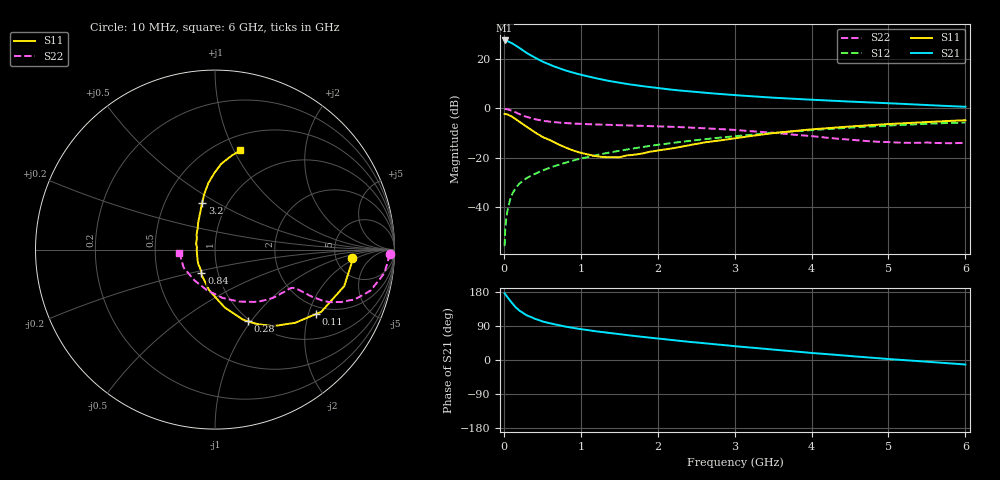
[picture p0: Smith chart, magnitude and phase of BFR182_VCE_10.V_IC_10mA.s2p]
! Infineon Technologies  Discrete & RF Semiconductors
! BFR182
! VCE =  10. V,  IC =  10 mA
! Common Emitter S-Parameters:  Nov 2015
# GHz  S  MA  R  50
!  f  S11  S21  S12  S22
! GHz  MAG  ANG  MAG  ANG  MAG  ANG  MAG  ANG
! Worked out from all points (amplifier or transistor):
!   210 points, 10 MHz to 6 GHz, reference 50 ohm
!   highest |S21| = 27.5 dB at 10 MHz (marker M1)
!   |S21| within 3 dB of that: start of sweep to 202.1 MHz
!   unconditionally stable (mu >= 1): 865.5 MHz to 2.89 GHz
!   at 185 MHz: K = 0.49, MSG = 28.0 dB, |S12| = -31.2 dB
!   at 1.52 GHz: K = 1.05, MAG = 12.4 dB, |S12| = -17.1 dB
!   at 6 GHz: K = 0.89, MSG = 3.2 dB, |S12| = -5.8 dB
!   S11 on the Smith chart (normalised r, x): 10 MHz: 7.21, -1.54; 110 MHz: 1.73, -2.25; 280 MHz: 0.98, -0.96; 840 MHz: 0.83, -0.22; 3.2 GHz: 0.76, +0.43; 6 GHz: 0.64, +1.06
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0.01  0.766 -3.3  23.62 176.0  0.0016 80.2  0.974 -1.5
0.02  0.7641 -6.0  23.02 173.1  0.0038 78.1  0.9681 -3.2
0.05  0.748 -15.8  22.85 164.7  0.0088 82.1  0.9523 -8.0
0.1  0.6863 -30.3  21.13 151.6  0.017 74.3  0.896 -14.8
0.11  0.6679 -32.5  20.6 149.4  0.0183 73.3  0.8817 -15.7
0.15  0.6054 -42.3  18.82 139.7  0.0236 70.6  0.827 -19.6
0.2  0.536 -52.7  16.81 130.7  0.0293 69.1  0.7606 -22.6
0.24  0.4844 -59.3  15.17 125.0  0.0331 66.9  0.7174 -24.1
0.28  0.4389 -65.4  13.76 120.1  0.0368 66.3  0.6814 -25.0
0.3  0.4179 -68.5  13.1 117.7  0.0387 66.3  0.6645 -25.4
0.4  0.3282 -80.3  10.68 109.0  0.0464 66.4  0.6004 -25.9
0.5  0.2626 -90.2  8.832 101.8  0.0541 66.5  0.5574 -25.8
0.7  0.1876 -107.6  6.606 92.2  0.0704 67.4  0.5138 -25.7
0.84  0.1516 -119.8  5.59 86.8  0.082 67.5  0.4962 -25.8
1.02  0.1228 -138.7  4.694 81.0  0.0969 67.8  0.4795 -26.4
1.4  0.1023 -179.0  3.495 70.7  0.1284 66.6  0.4596 -29.6
2.02  0.1402 135.8  2.536 56.3  0.1829 62.5  0.4303 -37.0
3.1  0.2587 106.7  1.798 34.8  0.2795 53.0  0.353 -55.5
3.2  0.2717 105.1  1.755 33.1  0.2884 51.9  0.3435 -57.8
4.1  0.3831 94.5  1.46 17.1  0.369 42.4  0.2618 -84.6
5.1  0.4873 84.8  1.242 1.2  0.4535 30.7  0.2019 -128.8
6  0.5717 75.7  1.07 -11.9  0.5151 18.7  0.199 -174.6
